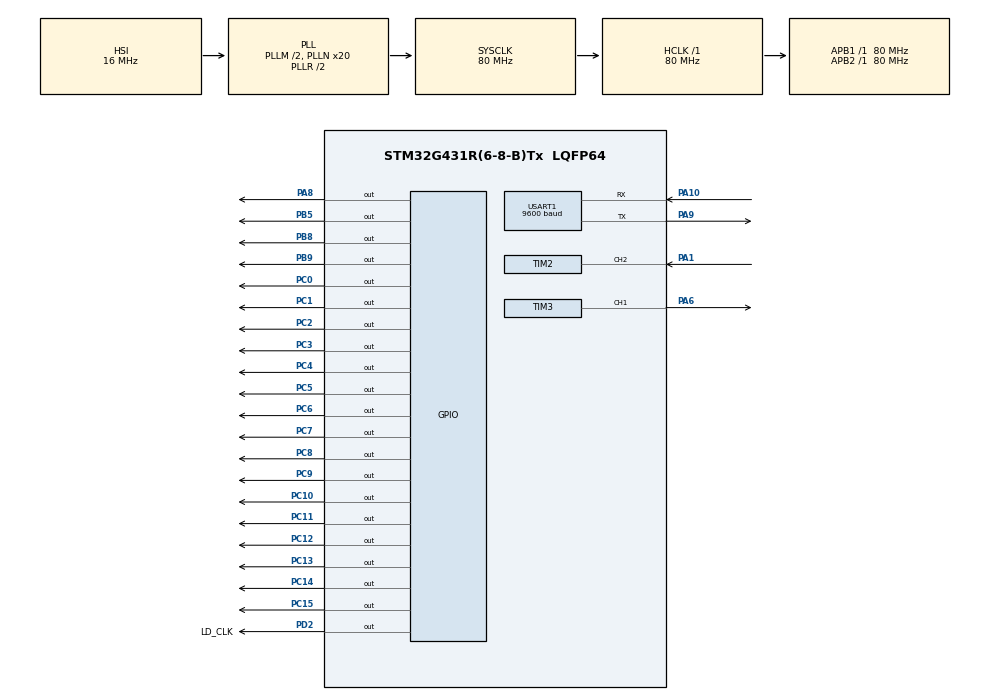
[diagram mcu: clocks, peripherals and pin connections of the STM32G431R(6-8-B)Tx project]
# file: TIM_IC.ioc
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Mcu.Family=STM32G4
Mcu.Name=STM32G431R(6-8-B)Tx
Mcu.Package=LQFP64
NVIC.PriorityGroup=NVIC_PRIORITYGROUP_4
NVIC.TIM2_IRQn=true\:0\:0\:false\:false\:true\:true\:true
NVIC.TIM3_IRQn=true\:0\:0\:false\:false\:true\:true\:true
NVIC.USART1_IRQn=true\:0\:0\:false\:false\:true\:true\:true
PA1.Signal=S_TIM2_CH2
PA10.Mode=Asynchronous
PA10.Signal=USART1_RX
PA6.Signal=S_TIM3_CH1
PA8.Signal=GPIO_Output
PA9.Mode=Asynchronous
PA9.Signal=USART1_TX
PB5.Signal=GPIO_Output
PB8-BOOT0.Signal=GPIO_Output
PB9.Signal=GPIO_Output
PC0.Signal=GPIO_Output
PC1.Signal=GPIO_Output
PC10.Signal=GPIO_Output
PC11.Signal=GPIO_Output
PC12.Signal=GPIO_Output
PC13.Signal=GPIO_Output
PC14-OSC32_IN.Signal=GPIO_Output
PC15-OSC32_OUT.Signal=GPIO_Output
PC2.Signal=GPIO_Output
PC3.Signal=GPIO_Output
PC4.Signal=GPIO_Output
PC5.Signal=GPIO_Output
PC6.Signal=GPIO_Output
PC7.Signal=GPIO_Output
PC8.Signal=GPIO_Output
PC9.Signal=GPIO_Output
PD2.GPIO_Label=LD_CLK
PD2.Signal=GPIO_Output
PF0-OSC_IN.Mode=HSE-External-Oscillator
PF0-OSC_IN.Signal=RCC_OSC_IN
PF1-OSC_OUT.Mode=HSE-External-Oscillator
PF1-OSC_OUT.Signal=RCC_OSC_OUT
ProjectManager.HeapSize=0x200
ProjectManager.StackSize=0x400
ProjectManager.TargetToolchain=MDK-ARM V5.27
RCC.ADC12Freq_Value=80000000
RCC.AHBFreq_Value=80000000
RCC.APB1Freq_Value=80000000
RCC.APB1TimFreq_Value=80000000
RCC.APB2Freq_Value=80000000
RCC.APB2TimFreq_Value=80000000
RCC.CortexFreq_Value=80000000
RCC.EXTERNAL_CLOCK_VALUE=12288000
RCC.HCLKFreq_Value=80000000
RCC.HSE_VALUE=24000000
RCC.HSI48_VALUE=48000000
RCC.HSI_VALUE=16000000
RCC.LSE_VALUE=32768
RCC.PLLM=RCC_PLLM_DIV2
RCC.PLLN=20
RCC.SYSCLKFreq_VALUE=80000000
RCC.SYSCLKSource=RCC_SYSCLKSOURCE_PLLCLK
RCC.USBFreq_Value=80000000
RCC.VCOOutputFreq_Value=160000000
SH.S_TIM2_CH2.0=TIM2_CH2,Input_Capture2_from_TI2
SH.S_TIM3_CH1.0=TIM3_CH1,PWM Generation1 CH1
TIM2.Channel-Input_Capture2_from_TI2=TIM_CHANNEL_2
TIM2.PeriodNoDither=0xffffffff
TIM3.Channel-PWM\ Generation1\ CH1=TIM_CHANNEL_1
TIM3.PeriodNoDither=1000-1
TIM3.Prescaler=80-1
TIM3.PulseNoDither_1=200
USART1.BaudRate=9600
USART1.VirtualMode-Asynchronous=VM_ASYNC
VP_SYS_VS_DBSignals.Mode=DisableDeadBatterySignals
VP_TIM2_VS_ClockSourceINT.Mode=Internal
VP_TIM3_VS_ClockSourceINT.Mode=Internal
board=custom

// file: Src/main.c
/* USER CODE BEGIN Header */
/**
  ******************************************************************************
  * @file           : main.c
  * @brief          : Main program body
  ******************************************************************************
  * @attention
  *
  * <h2><center>&copy; Copyright (c) 2021 STMicroelectronics.
  * All rights reserved.</center></h2>
  *
  * This software component is licensed by ST under BSD 3-Clause license,
  * the "License"; You may not use this file except in compliance with the
  * License. You may obtain a copy of the License at:
  *                        opensource.org/licenses/BSD-3-Clause
  *
  ******************************************************************************
  */
/* USER CODE END Header */
#include "main.h"

/* USER CODE BEGIN Includes */
#include <stdio.h>
#include "lcd.h"
/* USER CODE END Includes */

TIM_HandleTypeDef htim2;
TIM_HandleTypeDef htim3;

UART_HandleTypeDef huart1;

/* USER CODE BEGIN PV */
uint8_t CaptureNumber = 0;
uint16_t TIM2_Update_Cnt = 0;//溢出次数
uint32_t IC2ReadValue1 = 0;
uint32_t IC2ReadValue2 = 0;
uint32_t TIM2_Freq = 0;
uint32_t TIM2_Duty = 0;

uint8_t buf[30];
/* USER CODE END PV */

void SystemClock_Config(void);
static void MX_GPIO_Init(void);
static void MX_TIM2_Init(void);
static void MX_TIM3_Init(void);
static void MX_USART1_UART_Init(void);

/* USER CODE BEGIN 0 */
int fputc(int ch, FILE *f)
{
	HAL_UART_Transmit(&huart1, (uint8_t *)&ch, 1, HAL_MAX_DELAY);
	return ch;
}
/* USER CODE END 0 */

int main(void)
{

  /* MCU Configuration--------------------------------------------------------*/

  /* Reset of all peripherals, Initializes the Flash interface and the Systick. */
  HAL_Init();

  /* Configure the system clock */
  SystemClock_Config();

  /* Initialize all configured peripherals */
  MX_GPIO_Init();
  MX_TIM2_Init();
  MX_TIM3_Init();
  MX_USART1_UART_Init();
  /* USER CODE BEGIN 2 */
	LCD_Init();
	LCD_Clear(White);
	LCD_SetBackColor(White);
	LCD_SetTextColor(Black);

	HAL_TIM_PWM_Start(&htim3, TIM_CHANNEL_1);

	HAL_TIM_IC_Start_IT(&htim2, TIM_CHANNEL_2);
	__HAL_TIM_ENABLE_IT(&htim2, TIM_IT_UPDATE);
  /* USER CODE END 2 */

  /* Infinite loop */
  while (1)
  {

    /* USER CODE BEGIN 3 */

    //将处理好的值显示出来
		if(CaptureNumber == 3)
		{

			TIM2_Update_Cnt = 0;
			TIM2_Freq = (uint32_t)(HAL_RCC_GetSysClockFreq() / 80 / (IC2ReadValue2 + 1));
			TIM2_Duty = (uint32_t)((IC2ReadValue1+1) * 100.0 / (IC2ReadValue2+1));
			sprintf((char *)buf, "  Fre: %d      ", TIM2_Freq);
      LCD_DisplayStringLine(Line1, buf);
      sprintf((char *)buf, "  Duty: %d      ", TIM2_Duty);
      LCD_DisplayStringLine(Line2, buf);
			sprintf((char *)buf, "  CNT: %d      ", TIM2_Update_Cnt);
      LCD_DisplayStringLine(Line3, buf);
			HAL_Delay(100);
			CaptureNumber = 0;

		}

			//HAL_Delay(100);
  }
  /* USER CODE END 3 */
}

void SystemClock_Config(void)
{
  RCC_OscInitTypeDef RCC_OscInitStruct = {0};
  RCC_ClkInitTypeDef RCC_ClkInitStruct = {0};
  RCC_PeriphCLKInitTypeDef PeriphClkInit = {0};

  /** Configure the main internal regulator output voltage
  */
  HAL_PWREx_ControlVoltageScaling(PWR_REGULATOR_VOLTAGE_SCALE1);
  /** Initializes the RCC Oscillators according to the specified parameters
  * in the RCC_OscInitTypeDef structure.
  */
  RCC_OscInitStruct.OscillatorType = RCC_OSCILLATORTYPE_HSI;
  RCC_OscInitStruct.HSIState = RCC_HSI_ON;
  RCC_OscInitStruct.HSICalibrationValue = RCC_HSICALIBRATION_DEFAULT;
  RCC_OscInitStruct.PLL.PLLState = RCC_PLL_ON;
  RCC_OscInitStruct.PLL.PLLSource = RCC_PLLSOURCE_HSI;
  RCC_OscInitStruct.PLL.PLLM = RCC_PLLM_DIV2;
  RCC_OscInitStruct.PLL.PLLN = 20;
  RCC_OscInitStruct.PLL.PLLP = RCC_PLLP_DIV2;
  RCC_OscInitStruct.PLL.PLLQ = RCC_PLLQ_DIV2;
  RCC_OscInitStruct.PLL.PLLR = RCC_PLLR_DIV2;
  if (HAL_RCC_OscConfig(&RCC_OscInitStruct) != HAL_OK)
  {
    Error_Handler();
  }
  /** Initializes the CPU, AHB and APB buses clocks
  */
  RCC_ClkInitStruct.ClockType = RCC_CLOCKTYPE_HCLK|RCC_CLOCKTYPE_SYSCLK
                              |RCC_CLOCKTYPE_PCLK1|RCC_CLOCKTYPE_PCLK2;
  RCC_ClkInitStruct.SYSCLKSource = RCC_SYSCLKSOURCE_PLLCLK;
  RCC_ClkInitStruct.AHBCLKDivider = RCC_SYSCLK_DIV1;
  RCC_ClkInitStruct.APB1CLKDivider = RCC_HCLK_DIV1;
  RCC_ClkInitStruct.APB2CLKDivider = RCC_HCLK_DIV1;

  if (HAL_RCC_ClockConfig(&RCC_ClkInitStruct, FLASH_LATENCY_2) != HAL_OK)
  {
    Error_Handler();
  }
  /** Initializes the peripherals clocks
  */
  PeriphClkInit.PeriphClockSelection = RCC_PERIPHCLK_USART1;
  PeriphClkInit.Usart1ClockSelection = RCC_USART1CLKSOURCE_PCLK2;
  if (HAL_RCCEx_PeriphCLKConfig(&PeriphClkInit) != HAL_OK)
  {
    Error_Handler();
  }
}

static void MX_TIM2_Init(void)
{

  TIM_ClockConfigTypeDef sClockSourceConfig = {0};
  TIM_MasterConfigTypeDef sMasterConfig = {0};
  TIM_IC_InitTypeDef sConfigIC = {0};

  htim2.Instance = TIM2;
  htim2.Init.Prescaler = 80-1;
  htim2.Init.CounterMode = TIM_COUNTERMODE_UP;
  htim2.Init.Period = 0xFFFF;
  htim2.Init.ClockDivision = TIM_CLOCKDIVISION_DIV1;
  htim2.Init.AutoReloadPreload = TIM_AUTORELOAD_PRELOAD_DISABLE;
  if (HAL_TIM_Base_Init(&htim2) != HAL_OK)
  {
    Error_Handler();
  }
  sClockSourceConfig.ClockSource = TIM_CLOCKSOURCE_INTERNAL;
  if (HAL_TIM_ConfigClockSource(&htim2, &sClockSourceConfig) != HAL_OK)
  {
    Error_Handler();
  }
  if (HAL_TIM_IC_Init(&htim2) != HAL_OK)
  {
    Error_Handler();
  }
  sMasterConfig.MasterOutputTrigger = TIM_TRGO_RESET;
  sMasterConfig.MasterSlaveMode = TIM_MASTERSLAVEMODE_DISABLE;
  if (HAL_TIMEx_MasterConfigSynchronization(&htim2, &sMasterConfig) != HAL_OK)
  {
    Error_Handler();
  }
  sConfigIC.ICPolarity = TIM_INPUTCHANNELPOLARITY_RISING;
  sConfigIC.ICSelection = TIM_ICSELECTION_DIRECTTI;
  sConfigIC.ICPrescaler = TIM_ICPSC_DIV1;
  sConfigIC.ICFilter = 0;
  if (HAL_TIM_IC_ConfigChannel(&htim2, &sConfigIC, TIM_CHANNEL_2) != HAL_OK)
  {
    Error_Handler();
  }

}

static void MX_TIM3_Init(void)
{

  TIM_ClockConfigTypeDef sClockSourceConfig = {0};
  TIM_MasterConfigTypeDef sMasterConfig = {0};
  TIM_OC_InitTypeDef sConfigOC = {0};

  htim3.Instance = TIM3;
  htim3.Init.Prescaler = 800-1;
  htim3.Init.CounterMode = TIM_COUNTERMODE_UP;
  htim3.Init.Period = 99;
  htim3.Init.ClockDivision = TIM_CLOCKDIVISION_DIV1;
  htim3.Init.AutoReloadPreload = TIM_AUTORELOAD_PRELOAD_DISABLE;
  if (HAL_TIM_Base_Init(&htim3) != HAL_OK)
  {
    Error_Handler();
  }
  sClockSourceConfig.ClockSource = TIM_CLOCKSOURCE_INTERNAL;
  if (HAL_TIM_ConfigClockSource(&htim3, &sClockSourceConfig) != HAL_OK)
  {
    Error_Handler();
  }
  if (HAL_TIM_PWM_Init(&htim3) != HAL_OK)
  {
    Error_Handler();
  }
  sMasterConfig.MasterOutputTrigger = TIM_TRGO_RESET;
  sMasterConfig.MasterSlaveMode = TIM_MASTERSLAVEMODE_DISABLE;
  if (HAL_TIMEx_MasterConfigSynchronization(&htim3, &sMasterConfig) != HAL_OK)
  {
    Error_Handler();
  }
  sConfigOC.OCMode = TIM_OCMODE_PWM1;
  sConfigOC.Pulse = 20;
  sConfigOC.OCPolarity = TIM_OCPOLARITY_HIGH;
  sConfigOC.OCFastMode = TIM_OCFAST_DISABLE;
  if (HAL_TIM_PWM_ConfigChannel(&htim3, &sConfigOC, TIM_CHANNEL_1) != HAL_OK)
  {
    Error_Handler();
  }
  HAL_TIM_MspPostInit(&htim3);

}

static void MX_USART1_UART_Init(void)
{

  huart1.Instance = USART1;
  huart1.Init.BaudRate = 9600;
  huart1.Init.WordLength = UART_WORDLENGTH_8B;
  huart1.Init.StopBits = UART_STOPBITS_1;
  huart1.Init.Parity = UART_PARITY_NONE;
  huart1.Init.Mode = UART_MODE_TX_RX;
  huart1.Init.HwFlowCtl = UART_HWCONTROL_NONE;
  huart1.Init.OverSampling = UART_OVERSAMPLING_16;
  huart1.Init.OneBitSampling = UART_ONE_BIT_SAMPLE_DISABLE;
  huart1.Init.ClockPrescaler = UART_PRESCALER_DIV1;
  huart1.AdvancedInit.AdvFeatureInit = UART_ADVFEATURE_NO_INIT;
  if (HAL_UART_Init(&huart1) != HAL_OK)
  {
    Error_Handler();
  }
  if (HAL_UARTEx_SetTxFifoThreshold(&huart1, UART_TXFIFO_THRESHOLD_1_8) != HAL_OK)
  {
    Error_Handler();
  }
  if (HAL_UARTEx_SetRxFifoThreshold(&huart1, UART_RXFIFO_THRESHOLD_1_8) != HAL_OK)
  {
    Error_Handler();
  }
  if (HAL_UARTEx_DisableFifoMode(&huart1) != HAL_OK)
  {
    Error_Handler();
  }

}

static void MX_GPIO_Init(void)
{
  GPIO_InitTypeDef GPIO_InitStruct = {0};

  /* GPIO Ports Clock Enable */
  __HAL_RCC_GPIOC_CLK_ENABLE();
  __HAL_RCC_GPIOF_CLK_ENABLE();
  __HAL_RCC_GPIOA_CLK_ENABLE();
  __HAL_RCC_GPIOD_CLK_ENABLE();
  __HAL_RCC_GPIOB_CLK_ENABLE();

  /*Configure GPIO pin Output Level */
  HAL_GPIO_WritePin(GPIOC, GPIO_PIN_13|GPIO_PIN_14|GPIO_PIN_15|GPIO_PIN_0
                          |GPIO_PIN_1|GPIO_PIN_2|GPIO_PIN_3|GPIO_PIN_4
                          |GPIO_PIN_5|GPIO_PIN_6|GPIO_PIN_7|GPIO_PIN_8
                          |GPIO_PIN_9|GPIO_PIN_10|GPIO_PIN_11|GPIO_PIN_12, GPIO_PIN_RESET);

  /*Configure GPIO pin Output Level */
  HAL_GPIO_WritePin(GPIOA, GPIO_PIN_8, GPIO_PIN_RESET);

  /*Configure GPIO pin Output Level */
  HAL_GPIO_WritePin(LD_CLK_GPIO_Port, LD_CLK_Pin, GPIO_PIN_RESET);

  /*Configure GPIO pin Output Level */
  HAL_GPIO_WritePin(GPIOB, GPIO_PIN_5|GPIO_PIN_8|GPIO_PIN_9, GPIO_PIN_RESET);

  /*Configure GPIO pins : PC13 PC14 PC15 PC0
                           PC1 PC2 PC3 PC4
                           PC5 PC6 PC7 PC8
                           PC9 PC10 PC11 PC12 */
  GPIO_InitStruct.Pin = GPIO_PIN_13|GPIO_PIN_14|GPIO_PIN_15|GPIO_PIN_0
                          |GPIO_PIN_1|GPIO_PIN_2|GPIO_PIN_3|GPIO_PIN_4
                          |GPIO_PIN_5|GPIO_PIN_6|GPIO_PIN_7|GPIO_PIN_8
                          |GPIO_PIN_9|GPIO_PIN_10|GPIO_PIN_11|GPIO_PIN_12;
  GPIO_InitStruct.Mode = GPIO_MODE_OUTPUT_PP;
  GPIO_InitStruct.Pull = GPIO_NOPULL;
  GPIO_InitStruct.Speed = GPIO_SPEED_FREQ_LOW;
  HAL_GPIO_Init(GPIOC, &GPIO_InitStruct);

  /*Configure GPIO pin : PA8 */
  GPIO_InitStruct.Pin = GPIO_PIN_8;
  GPIO_InitStruct.Mode = GPIO_MODE_OUTPUT_PP;
  GPIO_InitStruct.Pull = GPIO_NOPULL;
  GPIO_InitStruct.Speed = GPIO_SPEED_FREQ_LOW;
  HAL_GPIO_Init(GPIOA, &GPIO_InitStruct);

  /*Configure GPIO pin : LD_CLK_Pin */
  GPIO_InitStruct.Pin = LD_CLK_Pin;
  GPIO_InitStruct.Mode = GPIO_MODE_OUTPUT_PP;
  GPIO_InitStruct.Pull = GPIO_NOPULL;
  GPIO_InitStruct.Speed = GPIO_SPEED_FREQ_LOW;
  HAL_GPIO_Init(LD_CLK_GPIO_Port, &GPIO_InitStruct);

  /*Configure GPIO pins : PB5 PB8 PB9 */
  GPIO_InitStruct.Pin = GPIO_PIN_5|GPIO_PIN_8|GPIO_PIN_9;
  GPIO_InitStruct.Mode = GPIO_MODE_OUTPUT_PP;
  GPIO_InitStruct.Pull = GPIO_NOPULL;
  GPIO_InitStruct.Speed = GPIO_SPEED_FREQ_LOW;
  HAL_GPIO_Init(GPIOB, &GPIO_InitStruct);

}

/* USER CODE BEGIN 4 */
void HAL_TIM_PeriodElapsedCallback(TIM_HandleTypeDef *htim)
{
	if(htim->Instance == TIM2)
	{
		TIM2_Update_Cnt++;
	}
}
void HAL_TIM_IC_CaptureCallback(TIM_HandleTypeDef *htim)
{
  if (htim->Channel == HAL_TIM_ACTIVE_CHANNEL_2)
  {
		if(CaptureNumber == 0)
		{

			IC2ReadValue1 = 0;
			IC2ReadValue2 = 0;
			__HAL_TIM_SET_COUNTER(&htim2, 0);
			__HAL_TIM_SET_CAPTUREPOLARITY(&htim2, TIM_CHANNEL_2, TIM_INPUTCHANNELPOLARITY_FALLING);
			CaptureNumber = 1;
		}else if(CaptureNumber == 1){
			IC2ReadValue1 = HAL_TIM_ReadCapturedValue(&htim2, TIM_CHANNEL_2);
			__HAL_TIM_SET_CAPTUREPOLARITY(&htim2, TIM_CHANNEL_2, TIM_INPUTCHANNELPOLARITY_RISING);
			CaptureNumber = 2;
		}else if(CaptureNumber == 2){
			IC2ReadValue2 = HAL_TIM_ReadCapturedValue(&htim2, TIM_CHANNEL_2);

			CaptureNumber = 3;
		}
	}
}
/* USER CODE END 4 */

void Error_Handler(void)
{
  __disable_irq();
  while (1)
  {
  }
}

/************************ (C) COPYRIGHT STMicroelectronics *****END OF FILE****/
